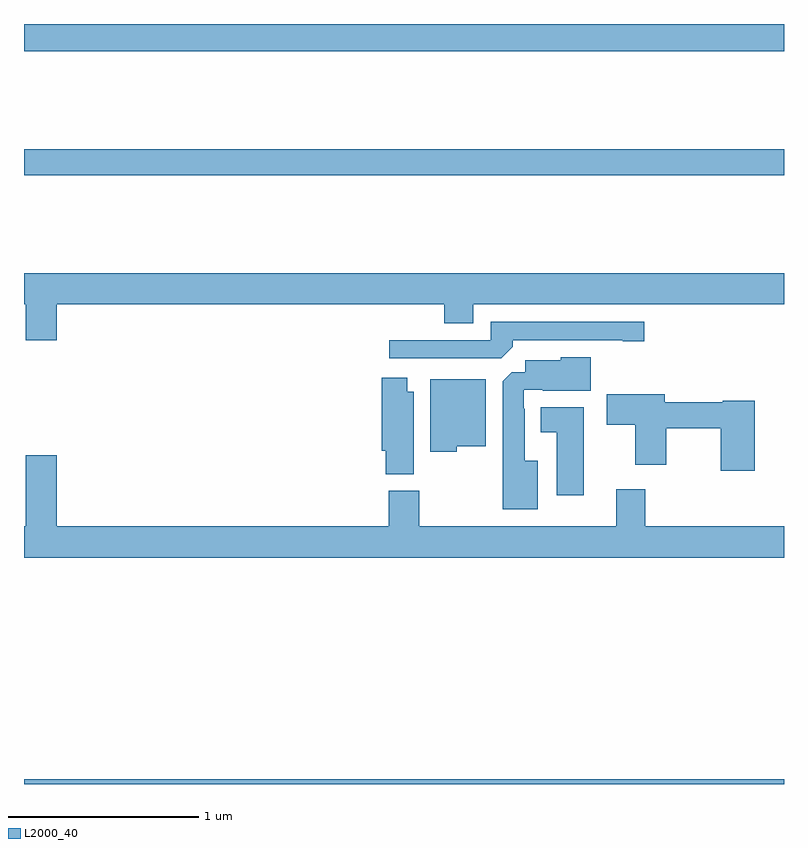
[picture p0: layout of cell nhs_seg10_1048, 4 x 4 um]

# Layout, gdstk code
import gdstk
lib = gdstk.Library(unit=1e-6, precision=1e-09)
def R(c, l, rs):  # rectangles x0, y0, x1, y1
    for r in rs: c.add(gdstk.rectangle(r[:2], r[2:], *l))
def P(c, l, *ps):  # polygons
    for p in ps: c.add(gdstk.Polygon(p, *l))
L2000_40 = (2000, 40)

nhs_seg10_1048 = lib.new_cell('nhs_seg10_1048')
R(nhs_seg10_1048, L2000_40, [(165,1256.5,169,1256.524), (165,1259.704,169,1259.84), (165,1260.356,169,1260.5)])
P(nhs_seg10_1048, L2000_40, [(165.172,1259.024),(167.213,1259.024),(167.213,1258.925),(167.365,1258.925),(167.365,1259.024),(169,1259.024),(169,1259.188),(165,1259.188),(165,1259.024),(165.008,1259.024),(165.008,1258.836),(165.172,1258.836)],
  [(167.573,1258.802),(167.573,1258.836),(168.152,1258.836),(168.152,1258.831),(168.265,1258.831),(168.265,1258.932),(167.457,1258.932),(167.457,1258.836),(166.923,1258.836),(166.923,1258.74),(167.511,1258.74)],
  [(167.704,1258.201),(167.635,1258.201),(167.635,1258.475),(167.631,1258.475),(167.631,1258.575),(167.731,1258.575),(167.731,1258.571),(167.983,1258.571),(167.983,1258.747),(167.826,1258.747),(167.826,1258.729),(167.639,1258.729),(167.639,1258.668),(167.568,1258.668),(167.519,1258.619),(167.519,1257.947),(167.704,1257.947)],
  [(167.05,1258.564),(167.017,1258.564),(167.017,1258.639),(166.883,1258.639),(166.883,1258.254),(166.904,1258.254),(166.904,1258.129),(167.05,1258.129)],
  [(167.277,1258.277),(167.431,1258.277),(167.431,1258.63),(167.138,1258.63),(167.138,1258.25),(167.277,1258.25)],
  [(168.845,1258.516),(168.678,1258.516),(168.678,1258.508),(168.373,1258.508),(168.373,1258.552),(168.066,1258.552),(168.066,1258.39),(168.218,1258.39),(168.218,1258.179),(168.381,1258.179),(168.381,1258.372),(168.667,1258.372),(168.667,1258.149),(168.845,1258.149)],
  [(167.947,1258.483),(167.72,1258.483),(167.72,1258.352),(167.804,1258.352),(167.804,1258.02),(167.947,1258.02)],
  [(169,1257.856),(168.269,1257.856),(168.269,1258.051),(168.116,1258.051),(168.116,1257.856),(167.079,1257.856),(167.079,1258.044),(166.919,1258.044),(166.919,1257.856),(165.172,1257.856),(165.172,1258.231),(165.008,1258.231),(165.008,1257.856),(165,1257.856),(165,1257.692),(169,1257.692)])

lib.write_gds('nhs_seg10_1048.gds')
